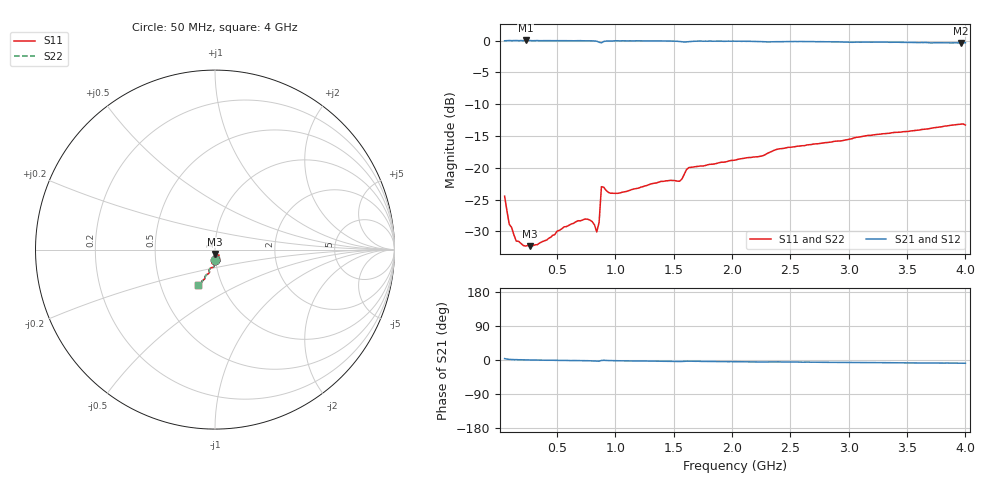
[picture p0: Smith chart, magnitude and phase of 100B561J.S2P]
!  American Technical Ceramics  Date:  3/13/98
!  One Norden Lane
!  Huntington Station,  NY.  11746-2102
!  Tel:  (516) 547-5700  Fax:  (516) 547-5748
!  Part Number  100b561j
!  Description: Porcelain, High Q, Low ESR
!  Application: Bypass, Coupling, Timing, Feedback
!  Tuning, Impedance Match, Blocking
# GHZ S DB R 50
! Freq  |S11|  S11 Ph  |S21|  S21 Ph  |S12|  S12 Ph  |S22|  S22 Ph
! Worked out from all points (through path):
!   201 points, 50 MHz to 4 GHz, reference 50 ohm
!   highest |S21| = 0.03 dB at 230 MHz (marker M1); lowest = -0.4 dB at 3.96 GHz (marker M2)
!   group delay of S21, straight-line fit = 6.37 ps
!   lowest |S11| = -32.3 dB at 270 MHz (marker M3), VSWR 1.05, Z = 49.9 - j2.42 ohm
!   |S11| at or under -10 dB: start of sweep to end of sweep
!   |S22| runs from -32.3 to -13.1 dB; largest |S21 - S12| = 0
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0.05  -24.46 -89.4  -0.02 3.7  -0.02 3.7  -24.46 -89.4
0.09  -28.89 -91.4  0.02 1.7  0.02 1.7  -28.89 -91.4
0.11  -29.36 -89.4  0.00 1.4  0.00 1.4  -29.36 -89.4
0.15  -31.51 -91.2  0.02 1.1  0.02 1.1  -31.51 -91.2
0.23  -32.29 -91.1  0.03 0.3  0.03 0.3  -32.29 -91.1
0.27  -32.31 -90.9  0.01 0.2  0.01 0.2  -32.31 -90.9
0.56  -29.27 -95.6  0.00 -1.0  0.00 -1.0  -29.27 -95.6
0.72  -28.18 -96.5  -0.02 -1.8  -0.02 -1.8  -28.18 -96.5
0.8  -28.43 -96.2  -0.03 -2.2  -0.03 -2.2  -28.43 -96.2
0.84  -30.07 -85.1  -0.09 -2.8  -0.09 -2.8  -30.07 -85.1
0.86  -28.58 -54.1  -0.25 -3.2  -0.25 -3.2  -28.58 -54.1
0.88  -22.96 -67.2  -0.34 -1.2  -0.34 -1.2  -22.96 -67.2
0.94  -23.86 -94.7  -0.05 -1.4  -0.05 -1.4  -23.86 -94.7
1.02  -24.00 -97.8  -0.02 -2.0  -0.02 -2.0  -24.00 -97.8
1.37  -22.25 -101.4  -0.05 -3.1  -0.05 -3.1  -22.25 -101.4
1.55  -22.10 -97.8  -0.13 -4.0  -0.13 -4.0  -22.10 -97.8
1.63  -19.95 -97.3  -0.16 -3.0  -0.16 -3.0  -19.95 -97.3
2.03  -18.76 -105.8  -0.09 -4.5  -0.09 -4.5  -18.76 -105.8
2.7  -16.25 -109.3  -0.15 -5.7  -0.15 -5.7  -16.25 -109.3
3.35  -14.56 -111.7  -0.26 -7.1  -0.26 -7.1  -14.56 -111.7
3.96  -13.12 -113.5  -0.36 -8.4  -0.36 -8.4  -13.12 -113.5
4  -13.27 -115.4  -0.32 -8.6  -0.32 -8.6  -13.27 -115.4
